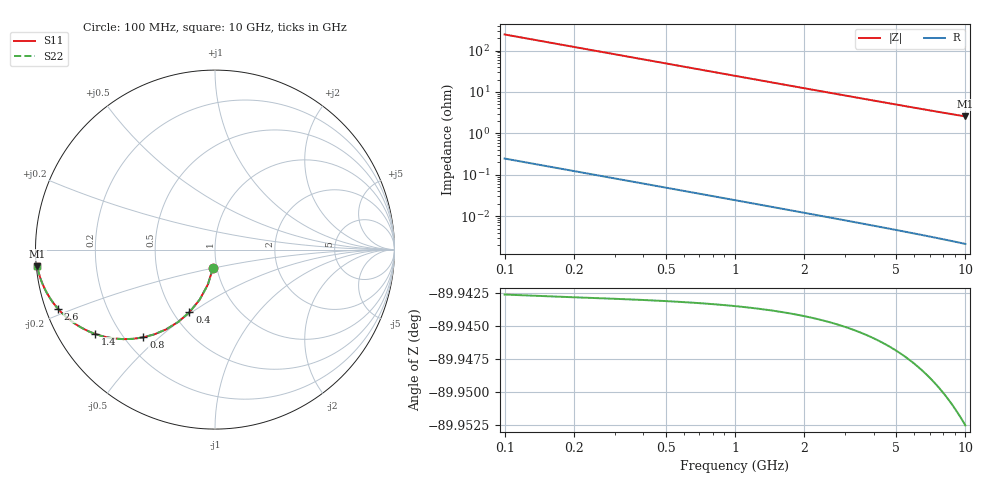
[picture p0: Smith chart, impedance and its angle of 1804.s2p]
# Hz S RI R 50.00
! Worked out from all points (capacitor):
!   100 points, 100 MHz to 10 GHz, reference 50 ohm
!   read as one part in shunt: C = 6.48 pF near 100 MHz
!   lowest |Z| = 2.56 ohm at 10 GHz (marker M1)
!   S11 on the Smith chart (normalised r, x): 100 MHz: 0.96, -0.20; 400 MHz: 0.60, -0.49; 800 MHz: 0.27, -0.45; 1.4 GHz: 0.11, -0.31; 2.6 GHz: 0.03, -0.18; 10 GHz: 0.00, -0.05
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1e8  -0.0103 -0.1007  0.9896 -0.1008  0.9896 -0.1008  -0.0103 -0.1007
2e8  -0.04 -0.1954  0.96 -0.1956  0.96 -0.1956  -0.04 -0.1954
3e8  -0.0856 -0.2792  0.9144 -0.2794  0.9144 -0.2794  -0.0856 -0.2792
4e8  -0.1426 -0.349  0.8574 -0.3493  0.8574 -0.3493  -0.1426 -0.349
5e8  -0.2061 -0.4038  0.7939 -0.4042  0.7939 -0.4042  -0.2061 -0.4038
6e8  -0.272 -0.4442  0.728 -0.4448  0.728 -0.4448  -0.272 -0.4442
7e8  -0.337 -0.4719  0.6629 -0.4725  0.6629 -0.4725  -0.337 -0.4719
8e8  -0.3989 -0.4888  0.601 -0.4895  0.601 -0.4895  -0.3989 -0.4888
9e8  -0.4564 -0.4972  0.5435 -0.498  0.5435 -0.498  -0.4564 -0.4972
1.1e9  -0.5562 -0.4958  0.4437 -0.4968  0.4437 -0.4968  -0.5562 -0.4958
1.2e9  -0.5986 -0.4891  0.4014 -0.4902  0.4014 -0.4902  -0.5986 -0.4891
1.4e9  -0.6698 -0.4691  0.3302 -0.4704  0.3302 -0.4704  -0.6698 -0.4691
1.6e9  -0.7259 -0.4448  0.2741 -0.4463  0.2741 -0.4463  -0.7259 -0.4448
1.8e9  -0.7701 -0.4194  0.2299 -0.4211  0.2299 -0.4211  -0.7701 -0.4194
2.2e9  -0.8333 -0.3712  0.1667 -0.3732  0.1667 -0.3732  -0.8333 -0.3712
2.6e9  -0.8746 -0.3295  0.1254 -0.3318  0.1254 -0.3318  -0.8746 -0.3295
3.4e9  -0.9225 -0.2652  0.0774 -0.2684  0.0774 -0.2684  -0.9225 -0.2652
4.2e9  -0.9478 -0.22  0.0522 -0.2239  0.0522 -0.2239  -0.9478 -0.22
5.1e9  -0.9639 -0.1835  0.036 -0.1882  0.036 -0.1882  -0.9639 -0.1835
6.7e9  -0.9788 -0.1404  0.0212 -0.1466  0.0212 -0.1466  -0.9788 -0.1404
8.4e9  -0.9864 -0.1111  0.0135 -0.119  0.0135 -0.119  -0.9864 -0.1111
1e10  -0.9904 -0.092  0.00951 -0.1015  0.00951 -0.1015  -0.9904 -0.092
